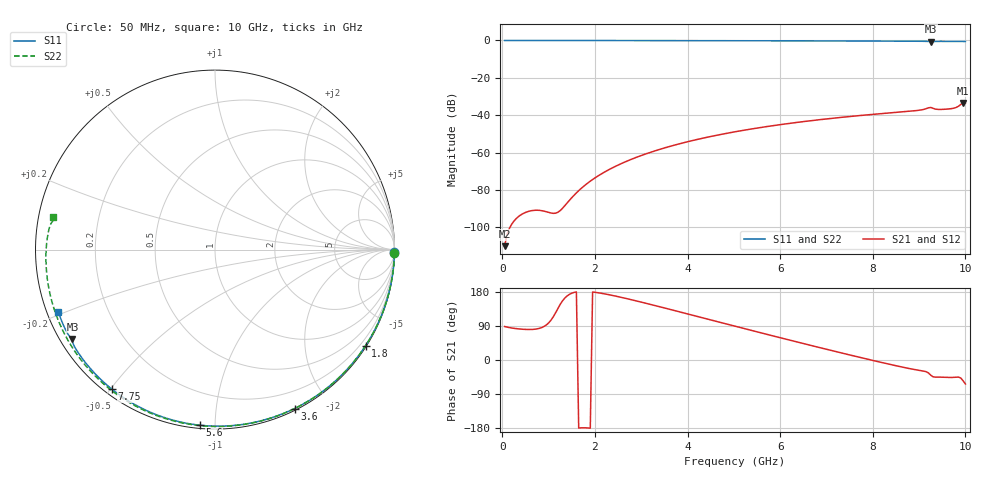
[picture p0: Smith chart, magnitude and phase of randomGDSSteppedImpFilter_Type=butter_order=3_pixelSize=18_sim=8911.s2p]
! freq	dB(S11)	phase(S11)	dB(S12)	phase(S12)
!  dB(S21)	phase(S21)	dB(S22)	phase(S22)
!S-par simulation data
#  GHz  S  DB  R 50
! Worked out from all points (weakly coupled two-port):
!   200 points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, 50 MHz to 10 GHz, reference 50 ohm
!   highest |S21| = -33.44 dB at 9.95 GHz (marker M1); lowest = -110.0 dB at 50 MHz (marker M2)
!   lowest |S11| = -0.6 dB at 9.25 GHz (marker M3), VSWR 30.96, Z = 1.75 - j14.4 ohm
!   |S11| at or under -10 dB: nowhere
!   |S22| runs from -0.8 to 0.0 dB; largest |S21 - S12| = 0
!   S11 on the Smith chart (normalised r, x): 50 MHz: open; 1.8 GHz: 0.03, -3.42; 3.6 GHz: 0.02, -1.62; 5.6 GHz: 0.02, -0.92; 7.75 GHz: 0.02, -0.50; 10 GHz: 0.03, -0.19
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0.05  -0.00 -0.9  -110.03 88.4  -110.03 88.4  -0.00 -1.1
0.8  -0.02 -14.7  -90.87 83.5  -90.87 83.5  -0.02 -17.6
1.65  -0.04 -29.9  -80.33 -179.4  -80.33 -179.4  -0.05 -35.9
1.75  -0.04 -31.7  -78.14 -178.8  -78.14 -178.8  -0.05 -38.0
1.8  -0.04 -32.6  -77.13 -179.0  -77.13 -179.0  -0.05 -39.0
2.1  -0.05 -37.9  -71.95 176.9  -71.95 176.9  -0.06 -45.3
2.5  -0.06 -44.8  -66.65 167.2  -66.65 167.2  -0.07 -53.6
3.4  -0.08 -60.1  -58.24 140.5  -58.24 140.5  -0.09 -71.6
3.6  -0.09 -63.4  -56.79 134.3  -56.79 134.3  -0.10 -75.6
4.3  -0.11 -74.8  -52.43 112.1  -52.43 112.1  -0.13 -88.9
5.05  -0.13 -86.6  -48.73 88.4  -48.73 88.4  -0.16 -102.8
5.6  -0.16 -95.0  -46.48 71.2  -46.48 71.2  -0.19 -112.7
6.7  -0.22 -111.3  -42.81 37.3  -42.81 37.3  -0.26 -132.2
7.75  -0.29 -126.5  -40.10 6.1  -40.10 6.1  -0.34 -150.6
8.35  -0.35 -135.0  -38.79 -11.0  -38.79 -11.0  -0.40 -161.3
9  -0.42 -144.4  -37.33 -27.3  -37.33 -27.3  -0.48 -173.1
9.25  -0.56 -147.9  -35.84 -39.8  -35.84 -39.8  -0.51 -177.8
9.4  -0.50 -149.6  -36.87 -45.2  -36.87 -45.2  -0.54 179.3
9.7  -0.51 -154.1  -36.46 -46.1  -36.46 -46.1  -0.61 173.4
9.8  -0.52 -155.6  -35.84 -45.3  -35.84 -45.3  -0.66 171.3
9.95  -0.53 -157.7  -33.44 -54.8  -33.44 -54.8  -0.79 169.3
10  -0.53 -158.4  -33.52 -63.2  -33.52 -63.2  -0.74 168.7
